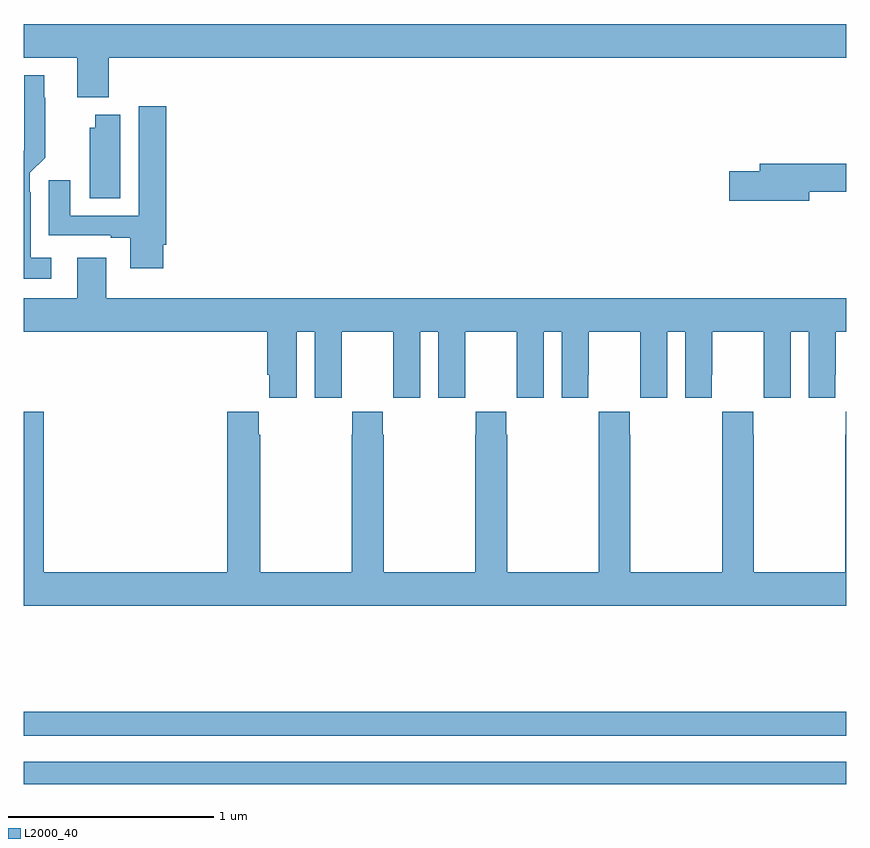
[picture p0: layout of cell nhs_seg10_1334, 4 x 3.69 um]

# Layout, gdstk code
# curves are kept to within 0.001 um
import gdstk
lib = gdstk.Library(unit=1e-6, precision=1e-09)
def R(c, l, rs):  # rectangles x0, y0, x1, y1
    for r in rs: c.add(gdstk.rectangle(r[:2], r[2:], *l))
def P(c, l, *ps):  # polygons
    for p in ps: c.add(gdstk.Polygon(p, *l))
L2000_40 = (2000, 40)

nhs_seg10_1334 = lib.new_cell('nhs_seg10_1334')
R(nhs_seg10_1334, L2000_40, [(179,1320.762,183,1320.87), (179,1320.996,183,1321.112)])
P(nhs_seg10_1334, L2000_40, [(179.414,1324.292),(183,1324.292),(183,1324.456),(179,1324.456),(179,1324.292),(179.261,1324.292),(179.261,1324.1),(179.414,1324.1)],
  [(179.134,1323.319),(179.035,1323.319),(179.035,1323.638),(179.031,1323.638),(179.031,1323.732),(179.105,1323.806),(179.105,1324.097),(179.101,1324.097),(179.101,1324.207),(179.003,1324.207),(179.004,1323.844),(179,1323.84),(179,1323.218),(179.134,1323.218)],
  [(179.68,1323.382),(179.693,1323.382),(179.693,1324.057),(179.561,1324.057),(179.561,1323.525),(179.227,1323.525),(179.227,1323.697),(179.123,1323.697),(179.123,1323.429),(179.423,1323.429),(179.423,1323.417),(179.519,1323.417),(179.519,1323.27),(179.68,1323.27)],
  [(179.47,1324.015),(179.348,1324.015),(179.348,1323.951),(179.321,1323.951),(179.321,1323.61),(179.47,1323.61)],
  [(182.818,1323.64),(183,1323.64),(183,1323.776),(182.579,1323.776),(182.579,1323.74),(182.43,1323.74),(182.43,1323.598),(182.818,1323.598)],
  [(180.328,1322.96),(180.416,1322.96),(180.416,1322.64),(180.546,1322.64),(180.546,1322.752),(180.547,1322.752),(180.547,1322.96),(180.797,1322.96),(180.797,1322.752),(180.798,1322.752),(180.798,1322.64),(180.928,1322.64),(180.928,1322.96),(181.016,1322.96),(181.016,1322.64),(181.146,1322.64),(181.146,1322.752),(181.147,1322.752),(181.147,1322.96),(181.397,1322.96),(181.397,1322.752),(181.398,1322.752),(181.398,1322.64),(181.528,1322.64),(181.528,1322.96),(181.616,1322.96),(181.616,1322.64),(181.746,1322.64),(181.746,1322.752),(181.747,1322.752),(181.747,1322.96),(181.997,1322.96),(181.997,1322.752),(181.998,1322.752),(181.998,1322.64),(182.128,1322.64),(182.128,1322.96),(182.216,1322.96),(182.216,1322.64),(182.346,1322.64),(182.346,1322.752),(182.347,1322.752),(182.347,1322.96),(182.597,1322.96),(182.597,1322.752),(182.598,1322.752),(182.598,1322.64),(182.728,1322.64),(182.728,1322.96),(182.816,1322.96),(182.816,1322.64),(182.946,1322.64),(182.946,1322.752),(182.947,1322.752),(182.947,1322.96),(183,1322.96),(183,1323.124),(179.401,1323.124),(179.401,1323.319),(179.261,1323.319),(179.261,1323.124),(179,1323.124),(179,1322.96),(180.185,1322.96),(180.185,1322.752),(180.194,1322.752),(180.194,1322.64),(180.328,1322.64)],
  [(183,1322.572),(182.997,1322.572),(182.997,1322.459),(182.995,1322.459),(182.995,1321.792),(182.55,1321.792),(182.55,1322.459),(182.547,1322.459),(182.547,1322.572),(182.397,1322.572),(182.397,1322.459),(182.395,1322.459),(182.395,1321.792),(181.95,1321.792),(181.95,1322.459),(181.947,1322.459),(181.947,1322.572),(181.797,1322.572),(181.797,1322.459),(181.795,1322.459),(181.795,1321.792),(181.35,1321.792),(181.35,1322.459),(181.347,1322.459),(181.347,1322.572),(181.197,1322.572),(181.197,1322.459),(181.195,1322.459),(181.195,1321.792),(180.75,1321.792),(180.75,1322.459),(180.747,1322.459),(180.747,1322.572),(180.597,1322.572),(180.597,1322.459),(180.595,1322.459),(180.595,1321.792),(180.15,1321.792),(180.15,1322.459),(180.143,1322.459),(180.143,1322.572),(179.99,1322.572),(179.99,1321.792),(179.099,1321.792),(179.099,1322.572),(179,1322.572),(179,1321.628),(183,1321.628)])

lib.write_gds('nhs_seg10_1334.gds')
